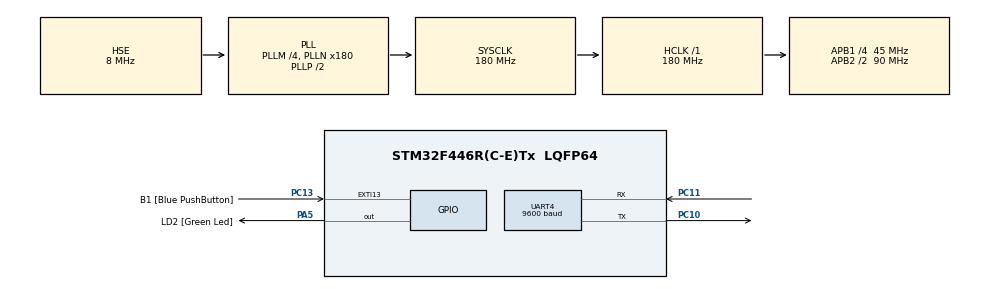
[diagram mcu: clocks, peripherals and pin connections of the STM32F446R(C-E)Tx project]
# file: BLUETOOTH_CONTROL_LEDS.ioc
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ADC1.Channel-0\#ChannelRegularConversion=ADC_CHANNEL_TEMPSENSOR
ADC1.ContinuousConvMode=DISABLE
ADC1.DiscontinuousConvMode=DISABLE
ADC1.EOCSelection=ADC_EOC_SINGLE_CONV
ADC1.ExternalTrigConv=ADC_SOFTWARE_START
ADC1.InjNumberOfConversion=0
ADC1.NbrOfConversion=1
ADC1.NbrOfConversionFlag=1
ADC1.Rank-0\#ChannelRegularConversion=1
ADC1.SamplingTime-0\#ChannelRegularConversion=ADC_SAMPLETIME_480CYCLES
ADC1.ScanConvMode=DISABLE
ADC1.master=1
Dma.ADC1.1.Direction=DMA_PERIPH_TO_MEMORY
Dma.ADC1.1.FIFOMode=DMA_FIFOMODE_DISABLE
Dma.ADC1.1.Instance=DMA2_Stream0
Dma.ADC1.1.MemDataAlignment=DMA_MDATAALIGN_BYTE
Dma.ADC1.1.MemInc=DMA_MINC_ENABLE
Dma.ADC1.1.Mode=DMA_CIRCULAR
Dma.ADC1.1.PeriphDataAlignment=DMA_PDATAALIGN_BYTE
Dma.ADC1.1.PeriphInc=DMA_PINC_DISABLE
Dma.ADC1.1.Priority=DMA_PRIORITY_LOW
Dma.Request0=UART4_RX
Dma.Request1=ADC1
Dma.UART4_RX.0.Direction=DMA_PERIPH_TO_MEMORY
Dma.UART4_RX.0.FIFOMode=DMA_FIFOMODE_DISABLE
Dma.UART4_RX.0.Instance=DMA1_Stream2
Dma.UART4_RX.0.MemDataAlignment=DMA_MDATAALIGN_BYTE
Dma.UART4_RX.0.MemInc=DMA_MINC_ENABLE
Dma.UART4_RX.0.Mode=DMA_CIRCULAR
Dma.UART4_RX.0.PeriphDataAlignment=DMA_PDATAALIGN_BYTE
Dma.UART4_RX.0.PeriphInc=DMA_PINC_DISABLE
Dma.UART4_RX.0.Priority=DMA_PRIORITY_LOW
Mcu.Family=STM32F4
Mcu.Name=STM32F446R(C-E)Tx
Mcu.Package=LQFP64
NVIC.DMA1_Stream2_IRQn=true\:0\:0\:false\:false\:true\:false\:true
NVIC.DMA2_Stream0_IRQn=true\:0\:0\:false\:false\:true\:false\:true
NVIC.PriorityGroup=NVIC_PRIORITYGROUP_0
PA13.GPIO_Label=TMS
PA13.Mode=Serial_Wire
PA13.Signal=SYS_JTMS-SWDIO
PA14.GPIO_Label=TCK
PA14.Mode=Serial_Wire
PA14.Signal=SYS_JTCK-SWCLK
PA2.GPIO_Label=USART_TX
PA2.Signal=USART2_TX
PA3.GPIO_Label=USART_RX
PA3.Signal=USART2_RX
PA5.GPIO_Label=LD2 [Green Led]
PA5.Signal=GPIO_Output
PB3.GPIO_Label=SWO
PB3.Signal=SYS_JTDO-SWO
PC10.Mode=Asynchronous
PC10.Signal=UART4_TX
PC11.Mode=Asynchronous
PC11.Signal=UART4_RX
PC13.GPIO_Label=B1 [Blue PushButton]
PC13.GPIO_ModeDefaultEXTI=GPIO_MODE_IT_FALLING
PC13.Signal=GPXTI13
PC14-OSC32_IN.Signal=RCC_OSC32_IN
PC15-OSC32_OUT.Signal=RCC_OSC32_OUT
PH0-OSC_IN.Mode=HSE-External-Clock-Source
PH0-OSC_IN.Signal=RCC_OSC_IN
PH1-OSC_OUT.Mode=HSE-External-Clock-Source
PH1-OSC_OUT.Signal=RCC_OSC_OUT
ProjectManager.HeapSize=0x200
ProjectManager.StackSize=0x400
ProjectManager.TargetToolchain=STM32CubeIDE
RCC.AHBFreq_Value=180000000
RCC.APB1CLKDivider=RCC_HCLK_DIV4
RCC.APB1Freq_Value=45000000
RCC.APB1TimFreq_Value=90000000
RCC.APB2CLKDivider=RCC_HCLK_DIV2
RCC.APB2Freq_Value=90000000
RCC.APB2TimFreq_Value=180000000
RCC.CortexFreq_Value=180000000
RCC.FLatency-AdvancedSettings=FLASH_LATENCY_5
RCC.HCLKFreq_Value=180000000
RCC.HSE_VALUE=8000000
RCC.HSI_VALUE=16000000
RCC.LSE_VALUE=32768
RCC.PLLM=4
RCC.PLLN=180
RCC.PLLSourceVirtual=RCC_PLLSOURCE_HSE
RCC.SYSCLKFreq_VALUE=180000000
RCC.SYSCLKSource=RCC_SYSCLKSOURCE_PLLCLK
RCC.USBFreq_Value=180000000
RCC.VCOOutputFreq_Value=360000000
TIM8.Period=10000-1
TIM8.Prescaler=180-1
UART4.BaudRate=9600
UART4.VirtualMode=Asynchronous
UART4.WordLength=WORDLENGTH_8B
VP_ADC1_TempSens_Input.Mode=IN-TempSens
VP_TIM8_VS_ClockSourceITR.Mode=TriggerSource_ITR0
VP_TIM8_VS_ControllerModeTrigger.Mode=Trigger Mode
board=NUCLEO-F446RE

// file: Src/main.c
/* USER CODE BEGIN Header */
/**
  ******************************************************************************
  * @file           : main.c
  * @brief          : Main program body
  ******************************************************************************
  * @attention
  *
  * <h2><center>&copy; Copyright (c) 2019 STMicroelectronics.
  * All rights reserved.</center></h2>
  *
  * This software component is licensed by ST under BSD 3-Clause license,
  * the "License"; You may not use this file except in compliance with the
  * License. You may obtain a copy of the License at:
  *                        opensource.org/licenses/BSD-3-Clause
  *
  ******************************************************************************
  */
/* USER CODE END Header */

#include "main.h"
#include "adc.h"
#include "dma.h"
#include "tim.h"
#include "usart.h"
#include "gpio.h"
#include "lcd.h"
#include "ringbuffer_dma.h"
#include <string.h>
#include <stdio.h>
#include <stdlib.h>

/* USER CODE BEGIN Includes */
//ringbuffer
RingBuffer_DMA rr;
//rx_sets                        //
#define BUF_SIZE (1024)
uint8_t  rx_re[BUF_SIZE];
//tx_sets
uint8_t tx[BUF_SIZE];
//command_sets
#define CMD_SIZE (56)
char cmd[BUF_SIZE];
uint32_t cmd_i = 0 ;

void process_command(char * command);
/* USER CODE END Includes */

void SystemClock_Config(void);

/* USER CODE BEGIN 0 */
//void process_command(char * command);

/* USER CODE END 0 */

int main(void)
{

  /* MCU Configuration--------------------------------------------------------*/

  /* Reset of all peripherals, Initializes the Flash interface and the Systick. */
  HAL_Init();

  /* Configure the system clock */
  SystemClock_Config();

  /* Initialize all configured peripherals */
  MX_GPIO_Init();
  MX_DMA_Init();
  MX_ADC1_Init();
  MX_TIM8_Init();
  MX_UART4_Init();
  LCD_Init();
  /* USER CODE BEGIN 2 */
  RingBuffer_DMA_Init(&rr, huart4.hdmarx , rx_re , BUF_SIZE);
  HAL_TIM_Base_Start(&htim8);
  HAL_UART_Receive_DMA(&huart4, rx_re, BUF_SIZE );
  /* USER CODE END 2 */
  /* Infinite loop */
  /* USER CODE BEGIN WHILE */
  while (1)
  {
	  uint32_t rx_count = RingBuffer_DMA_Count(&rr);
	  /* USER CODE END WHILE */
    while (rx_count --){
    	uint8_t  ch = RingBuffer_DMA_GetByte(&rr);
    	switch (ch) {
    				case '\r':
    					continue;
    				case '\n':
    					cmd[cmd_i] = '\0';
    					cmd_i = 0;
    					LCD_Printf(">> %s \r\n", cmd);
    					process_command(cmd);
    					break;
    				default:
    					break;
    				}

    }
  }
}

void SystemClock_Config(void)
{
  RCC_OscInitTypeDef RCC_OscInitStruct = {0};
  RCC_ClkInitTypeDef RCC_ClkInitStruct = {0};

  /** Configure the main internal regulator output voltage
  */
  __HAL_RCC_PWR_CLK_ENABLE();
  __HAL_PWR_VOLTAGESCALING_CONFIG(PWR_REGULATOR_VOLTAGE_SCALE1);
  /** Initializes the CPU, AHB and APB busses clocks
  */
  RCC_OscInitStruct.OscillatorType = RCC_OSCILLATORTYPE_HSE;
  RCC_OscInitStruct.HSEState = RCC_HSE_BYPASS;
  RCC_OscInitStruct.PLL.PLLState = RCC_PLL_ON;
  RCC_OscInitStruct.PLL.PLLSource = RCC_PLLSOURCE_HSE;
  RCC_OscInitStruct.PLL.PLLM = 4;
  RCC_OscInitStruct.PLL.PLLN = 180;
  RCC_OscInitStruct.PLL.PLLP = RCC_PLLP_DIV2;
  RCC_OscInitStruct.PLL.PLLQ = 2;
  RCC_OscInitStruct.PLL.PLLR = 2;
  if (HAL_RCC_OscConfig(&RCC_OscInitStruct) != HAL_OK)
  {
    Error_Handler();
  }
  /** Activate the Over-Drive mode
  */
  if (HAL_PWREx_EnableOverDrive() != HAL_OK)
  {
    Error_Handler();
  }
  /** Initializes the CPU, AHB and APB busses clocks
  */
  RCC_ClkInitStruct.ClockType = RCC_CLOCKTYPE_HCLK|RCC_CLOCKTYPE_SYSCLK
                              |RCC_CLOCKTYPE_PCLK1|RCC_CLOCKTYPE_PCLK2;
  RCC_ClkInitStruct.SYSCLKSource = RCC_SYSCLKSOURCE_PLLCLK;
  RCC_ClkInitStruct.AHBCLKDivider = RCC_SYSCLK_DIV1;
  RCC_ClkInitStruct.APB1CLKDivider = RCC_HCLK_DIV4;
  RCC_ClkInitStruct.APB2CLKDivider = RCC_HCLK_DIV2;

  if (HAL_RCC_ClockConfig(&RCC_ClkInitStruct, FLASH_LATENCY_5) != HAL_OK)
  {
    Error_Handler();
  }
}

/* USER CODE BEGIN 4 */
///command_sets
void process_command(char * command){

	if (strncmp(command, "led", CMD_SIZE)) {
		HAL_GPIO_TogglePin(GPIOA, GPIO_PIN_5);
		//snprintf((char *) tx, BUF_SIZE, "led %s\r\n", HAL_GPIO_ReadPin(GPIOA, GPIO_PIN_5)? "on" : "off");
		}
	else if (strncmp(command, "clear", CMD_SIZE)) {
			LCD_FillScreen(BLACK);
			LCD_SetCursor(0, 0);
			//snprintf((char *) tx, BUF_SIZE, "OK\r\n");
		}
	else {
			//snprintf((char *) tx, BUF_SIZE, "command unknown\r\n");
		    LCD_Printf("try again");
		}
	//HAL_UART_Transmit(&huart4, tx, strlen((char *) tx), 100);
	//LCD_Printf("<< %s", tx);
/*
	else if(cmd = 'clear'){
		LCD_Init();
		LCD_FillScreen(BLACK);
		LCD_SetCursor(0, 0);
		snprintf((char *)tx,BUF_SIZE ,"OK //");

	}*/
}
/* USER CODE END 4 */

void Error_Handler(void)
{
}

/************************ (C) COPYRIGHT STMicroelectronics *****END OF FILE****/
